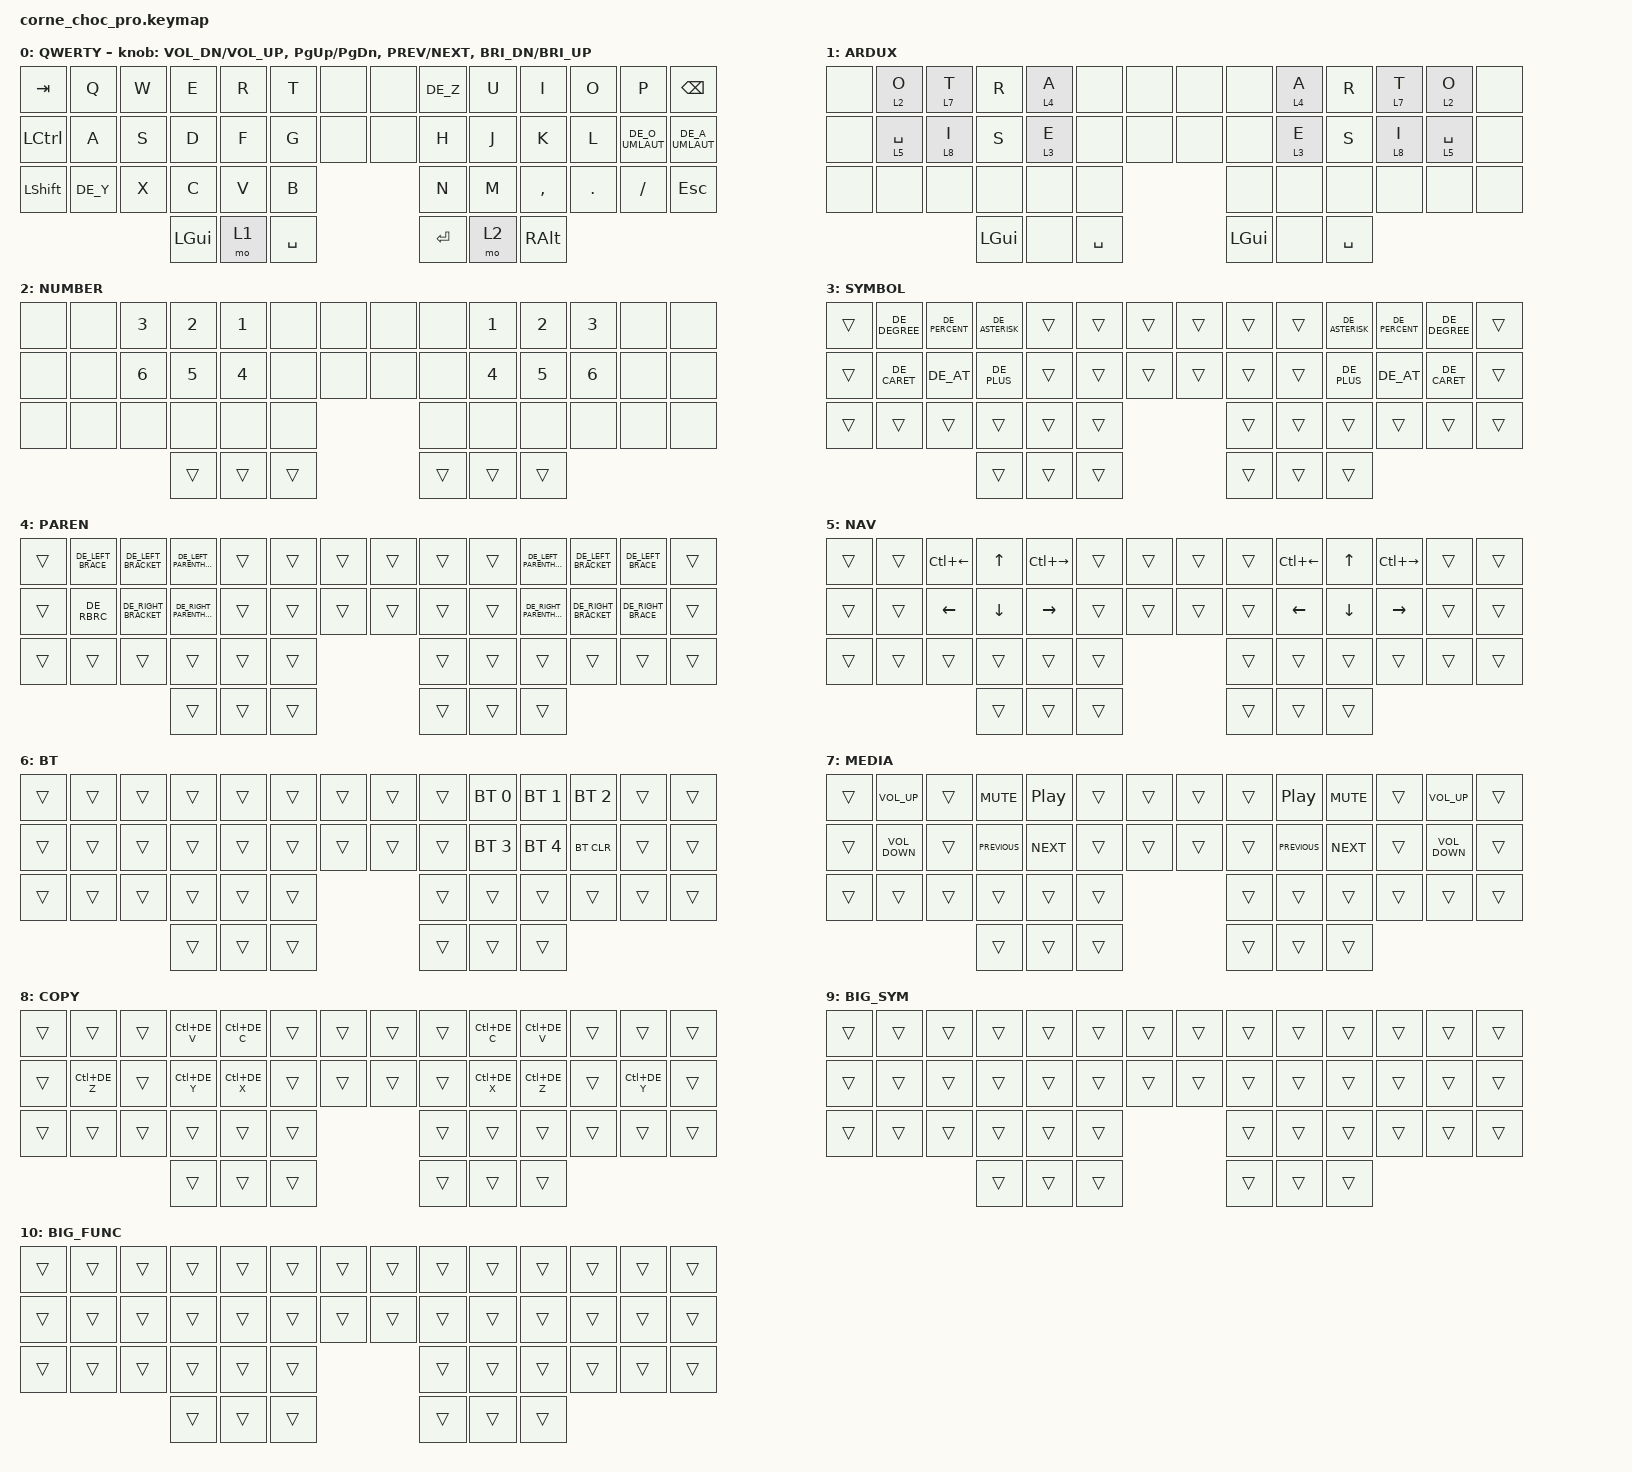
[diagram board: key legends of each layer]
/*
 * Copyright (c) 2020 The ZMK Contributors
 *
 * SPDX-License-Identifier: MIT
 */

#include "keys_de.h"
#include <behaviors.dtsi>
#include <dt-bindings/zmk/bt.h>
#include <dt-bindings/zmk/keys.h>
#include <dt-bindings/zmk/rgb.h>

/ {
    chosen { zmk,physical-layout = &default_layout; };
};

/ {
    combos {
        compatible = "zmk,combos";

        combo_right_f {
            bindings = <&kp F>;
            key-positions = <9 10>;
            layers = <1>;
        };

        combo_right_g {
            bindings = <&kp G>;
            key-positions = <10 11>;
            layers = <1>;
        };

        combo_right_j {
            bindings = <&kp J>;
            key-positions = <11 12>;
            layers = <1>;
        };

        combo_right_v {
            bindings = <&kp V>;
            key-positions = <10 12>;
            layers = <1>;
        };

        combo_right_y {
            bindings = <&kp DE_Y>;
            key-positions = <9 11>;
            layers = <1>;
        };

        combo_right_w {
            bindings = <&kp W>;
            key-positions = <9 12>;
            layers = <1>;
        };

        combo_right_z {
            bindings = <&kp DE_Z>;
            key-positions = <9 10 11 12>;
            layers = <1>;
        };

        combo_right_c {
            bindings = <&kp C>;
            key-positions = <23 24>;
            layers = <1>;
        };

        combo_right_u {
            bindings = <&kp U>;
            key-positions = <24 25>;
            layers = <1>;
        };

        combo_right_n {
            bindings = <&kp N>;
            key-positions = <25 26>;
            layers = <1>;
        };

        combo_right_h {
            bindings = <&kp H>;
            key-positions = <23 25>;
            layers = <1>;
        };

        combo_right_k {
            bindings = <&kp K>;
            key-positions = <24 26>;
            layers = <1>;
        };

        combo_right_b {
            bindings = <&kp B>;
            key-positions = <23 26>;
            layers = <1>;
        };

        combo_right_d {
            bindings = <&kp D>;
            key-positions = <9 10 11>;
            layers = <1>;
        };

        combo_right_x {
            bindings = <&kp X>;
            key-positions = <10 11 12>;
            layers = <1>;
        };

        combo_right_q {
            bindings = <&kp Q>;
            key-positions = <9 11 12>;
            layers = <1>;
        };

        combo_right_p {
            bindings = <&kp P>;
            key-positions = <23 25 26>;
            layers = <1>;
        };

        combo_right_l {
            bindings = <&kp L>;
            key-positions = <23 24 25>;
            layers = <1>;
        };

        combo_right_m {
            bindings = <&kp M>;
            key-positions = <24 25 26>;
            layers = <1>;
        };

        combo_right_ae {
            bindings = <&kp DE_A_UMLAUT>;
            key-positions = <23 10 11>;
            layers = <1>;
        };

        combo_right_oe {
            bindings = <&kp DE_O_UMLAUT>;
            key-positions = <23 11 12>;
            layers = <1>;
        };

        combo_right_ue {
            bindings = <&kp DE_U_UMLAUT>;
            key-positions = <23 10 12>;
            layers = <0 1>;
        };

        combo_right_sz {
            bindings = <&kp DE_SZ>;
            key-positions = <23 11>;
            layers = <0 1>;
        };

        combo_right_ardux {
            bindings = <&m_to_ardux>;
            key-positions = <23 24 25 26>;
            layers = <0>;
        };

        combo_right_sch {
            bindings = <&m_sch>;
            key-positions = <23 10 25 26>;
            layers = <0 1>;
        };

        combo_right_dot {
            bindings = <&kp PERIOD>;
            key-positions = <9 24>;
            layers = <1>;
        };

        combo_right_colon {
            bindings = <&kp DE_COLON>;
            key-positions = <9 24 25>;
            layers = <0 1>;
        };

        combo_right_comma {
            bindings = <&kp COMMA>;
            key-positions = <9 25>;
            layers = <1>;
        };

        combo_right_semicolon {
            bindings = <&kp DE_SEMICOLON>;
            key-positions = <9 25 26>;
            layers = <0 1>;
        };

        combo_right_minus {
            bindings = <&kp DE_MINUS>;
            key-positions = <9 26>;
            layers = <0 1>;
        };

        combo_right_underscore {
            bindings = <&kp DE_UNDERSCORE>;
            key-positions = <9 24 26>;
            layers = <0 1>;
        };

        combo_right_apostrophe {
            bindings = <&kp DE_APOSTROPHE>;
            key-positions = <11 26>;
            layers = <0 1>;
        };

        combo_right_dquotes {
            bindings = <&kp DE_DOUBLE_QUOTES>;
            key-positions = <10 26>;
            layers = <0 1>;
        };

        combo_right_backspace {
            bindings = <&kp BACKSPACE>;
            key-positions = <23 10>;
            layers = <0 1>;
        };

        combo_right_delete {
            bindings = <&kp DELETE>;
            key-positions = <10 25>;
            layers = <0 1>;
        };

        combo_right_escape {
            bindings = <&kp ESCAPE>;
            key-positions = <9 10 26>;
            layers = <0 1>;
        };

        combo_right_shift {
            bindings = <&mod_hold_tap LSHIFT LSHIFT>;
            key-positions = <23 10 11 12>;
            layers = <0 1>;
        };

        combo_right_shiftlock {
            bindings = <&kt LEFT_SHIFT>;
            key-positions = <9 24 25 26>;
            layers = <0 1>;
        };

        combo_right_ctrl {
            bindings = <&mod_hold_tap LCTRL LCTRL>;
            key-positions = <12 23>;
            layers = <0 1>;
        };

        combo_right_gui {
            bindings = <&kp LEFT_GUI>;
            key-positions = <24 12>;
            layers = <0 1>;
        };

        combo_right_alt {
            bindings = <&kp LEFT_ALT>;
            key-positions = <25 12>;
            layers = <0 1>;
        };

        combo_right_enter {
            bindings = <&kp KP_ENTER>;
            key-positions = <9 23>;
            layers = <0 1 2 3 4>;
        };

        combo_right_shift_enter {
            bindings = <&kp LS(KP_ENTER)>;
            key-positions = <23 9 12>;
            layers = <0 1>;
        };

        combo_right_tab {
            bindings = <&kp TAB>;
            key-positions = <10 24>;
            layers = <0 1>;
        };

        combo_right_exclamation {
            bindings = <&kp DE_EXCLAMATION>;
            key-positions = <11 25>;
            layers = <0 1>;
        };

        combo_right_question {
            bindings = <&kp DE_QUESTION>;
            key-positions = <12 26>;
            layers = <0 1>;
        };

        combo_right_bt_clear_profile {
            bindings = <&bt BT_CLR>;
            key-positions = <10 11 24 25>;
            layers = <6>;
        };

        combo_right_bt {
            bindings = <&m_bt>;
            key-positions = <9 23 12 26>;
        };

        combo_right_bt_clr_all {
            bindings = <&bt BT_CLR_ALL>;
            key-positions = <9 10 11 12 12 24 25 26 23>;
            layers = <6>;
        };

        combo_left_f {
            bindings = <&kp F>;
            key-positions = <4 3>;
            layers = <1>;
        };

        combo_left_g {
            bindings = <&kp G>;
            key-positions = <3 2>;
            layers = <1>;
        };

        combo_left_j {
            bindings = <&kp J>;
            key-positions = <2 1>;
            layers = <1>;
        };

        combo_left_v {
            bindings = <&kp V>;
            key-positions = <1 3>;
            layers = <1>;
        };

        combo_left_y {
            bindings = <&kp DE_Y>;
            key-positions = <2 4>;
            layers = <1>;
        };

        combo_left_w {
            bindings = <&kp W>;
            key-positions = <4 1>;
            layers = <1>;
        };

        combo_left_z {
            bindings = <&kp DE_Z>;
            key-positions = <4 1 2 3>;
            layers = <1>;
        };

        combo_left_c {
            bindings = <&kp C>;
            key-positions = <18 17>;
            layers = <1>;
        };

        combo_left_u {
            bindings = <&kp U>;
            key-positions = <17 16>;
            layers = <1>;
        };

        combo_left_n {
            bindings = <&kp N>;
            key-positions = <16 15>;
            layers = <1>;
        };

        combo_left_h {
            bindings = <&kp H>;
            key-positions = <16 18>;
            layers = <1>;
        };

        combo_left_k {
            bindings = <&kp K>;
            key-positions = <15 17>;
            layers = <1>;
        };

        combo_left_b {
            bindings = <&kp B>;
            key-positions = <15 18>;
            layers = <1>;
        };

        combo_left_d {
            bindings = <&kp D>;
            key-positions = <2 3 4>;
            layers = <1>;
        };

        combo_left_x {
            bindings = <&kp X>;
            key-positions = <2 3 1>;
            layers = <1>;
        };

        combo_left_q {
            bindings = <&kp Q>;
            key-positions = <2 1 4>;
            layers = <1>;
        };

        combo_left_p {
            bindings = <&kp P>;
            key-positions = <15 16 18>;
            layers = <1>;
        };

        combo_left_l {
            bindings = <&kp L>;
            key-positions = <16 18 17>;
            layers = <1>;
        };

        combo_left_m {
            bindings = <&kp M>;
            key-positions = <16 17 15>;
            layers = <1>;
        };

        combo_left_ae {
            bindings = <&kp DE_A_UMLAUT>;
            key-positions = <18 3 2>;
            layers = <1>;
        };

        combo_left_oe {
            bindings = <&kp DE_O_UMLAUT>;
            key-positions = <18 1 2>;
            layers = <1>;
        };

        combo_left_ue {
            bindings = <&kp DE_U_UMLAUT>;
            key-positions = <18 1 3>;
            layers = <0 1>;
        };

        combo_left_sz {
            bindings = <&kp DE_SZ>;
            key-positions = <18 2>;
            layers = <0 1>;
        };

        combo_left_sch {
            bindings = <&m_sch>;
            key-positions = <18 16 15 3>;
            layers = <0 1>;
        };

        combo_left_dot {
            bindings = <&kp DOT>;
            key-positions = <17 4>;
            layers = <1>;
        };

        combo_left_colon {
            bindings = <&kp DE_COLON>;
            key-positions = <4 17 16>;
            layers = <0 1>;
        };

        combo_left_comma {
            bindings = <&kp DE_COMMA>;
            key-positions = <4 16>;
            layers = <1>;
        };

        combo_left_semicolon {
            bindings = <&kp DE_SEMICOLON>;
            key-positions = <4 16 15>;
            layers = <0 1>;
        };

        combo_left_minus {
            bindings = <&kp DE_MINUS>;
            key-positions = <4 15>;
            layers = <0 1>;
        };

        combo_left_underscore {
            bindings = <&kp DE_UNDERSCORE>;
            key-positions = <4 17 15>;
            layers = <0 1>;
        };

        combo_left_ardux {
            bindings = <&m_to_ardux>;
            key-positions = <18 17 16 15>;
            layers = <0>;
        };

        combo_left_qwerty {
            bindings = <&m_to_qwerty>;
            key-positions = <18 17 16 15>;
            layers = <1>;
        };

        combo_right_qwerty {
            bindings = <&m_to_qwerty>;
            key-positions = <23 24 25 26>;
            layers = <1>;
        };

        combo_rgb_toggle {
            bindings = <&rgb_ug RGB_TOG>;
            key-positions = <29 30 31 32 35 36 37 38>;
        };

        combo_left_apostrophe {
            bindings = <&kp DE_APOSTROPHE>;
            key-positions = <2 15>;
            layers = <0 1>;
        };

        combo_left_dquotes {
            bindings = <&kp DE_DOUBLE_QUOTES>;
            key-positions = <3 15>;
            layers = <0 1>;
        };

        combo_left_backspace {
            bindings = <&kp BACKSPACE>;
            key-positions = <18 3>;
            layers = <0 1>;
        };

        combo_left_delete {
            bindings = <&kp DELETE>;
            key-positions = <3 16>;
            layers = <0 1>;
        };

        combo_left_escape {
            bindings = <&kp ESCAPE>;
            key-positions = <4 3 15>;
            layers = <0 1>;
        };

        combo_left_shift {
            bindings = <&mod_hold_tap LSHIFT LSHIFT>;
            key-positions = <18 3 2 1>;
            layers = <0 1>;
        };

        combo_left_shiftlock {
            bindings = <&kt LEFT_SHIFT>;
            key-positions = <4 15 16 17>;
            layers = <0 1>;
        };

        combo_left_ctrl {
            bindings = <&mod_hold_tap LCTRL LCTRL>;
            key-positions = <18 1>;
            layers = <0 1>;
        };

        combo_left_gui {
            bindings = <&kp LEFT_GUI>;
            key-positions = <17 1>;
            layers = <0 1>;
        };

        combo_left_alt {
            bindings = <&kp LEFT_ALT>;
            key-positions = <1 16>;
            layers = <0 1>;
        };

        combo_left_enter {
            bindings = <&kp KP_ENTER>;
            key-positions = <4 18>;
            layers = <0 1 2 3 4>;
        };

        combo_left_shift_enter {
            bindings = <&kp LS(KP_ENTER)>;
            key-positions = <4 18 1>;
            layers = <0 1>;
        };

        combo_left_tab {
            bindings = <&kp TAB>;
            key-positions = <3 17>;
            layers = <0 1>;
        };

        combo_left_exclamation {
            bindings = <&kp DE_EXCLAMATION>;
            key-positions = <2 16>;
            layers = <0 1>;
        };

        combo_left_question {
            bindings = <&kp DE_QUESTION>;
            key-positions = <1 15>;
            layers = <0 1>;
        };

        combo_right_7 {
            bindings = <&kp DE_N7>;
            key-positions = <9 10>;
            layers = <2>;
        };

        combo_right_8 {
            bindings = <&kp DE_N8>;
            key-positions = <10 11>;
            layers = <2>;
        };

        combo_right_9 {
            bindings = <&kp DE_N9>;
            key-positions = <23 24>;
            layers = <2>;
        };

        combo_right_0 {
            bindings = <&kp DE_N0>;
            key-positions = <24 25>;
            layers = <2>;
        };

        combo_right_num_dot {
            bindings = <&kp DE_DOT>;
            key-positions = <9 10 11>;
            layers = <2>;
        };

        combo_right_num_comma {
            bindings = <&kp DE_COMMA>;
            key-positions = <23 24 25>;
            layers = <2>;
        };

        combo_left_7 {
            bindings = <&kp DE_N7>;
            key-positions = <4 3>;
            layers = <2>;
        };

        combo_left_8 {
            bindings = <&kp DE_N8>;
            key-positions = <3 2>;
            layers = <2>;
        };

        combo_left_9 {
            bindings = <&kp DE_N9>;
            key-positions = <18 17>;
            layers = <2>;
        };

        combo_left_0 {
            bindings = <&kp DE_N0>;
            key-positions = <16 17>;
            layers = <2>;
        };

        combo_left_num_dot {
            bindings = <&kp DE_DOT>;
            key-positions = <2 3 4>;
            layers = <2>;
        };

        combo_left_num_comma {
            bindings = <&kp DE_COMMA>;
            key-positions = <18 17 16>;
            layers = <2>;
        };

        combo_right_equal {
            bindings = <&kp DE_EQUAL>;
            key-positions = <10 11>;
            layers = <3>;
        };

        combo_right_dollar {
            bindings = <&kp DE_DOLLAR>;
            key-positions = <11 12>;
            layers = <3>;
        };

        combo_right_hash {
            bindings = <&kp DE_HASH>;
            key-positions = <24 25>;
            layers = <3>;
        };

        combo_right_euro {
            bindings = <&kp DE_EURO>;
            key-positions = <25 26>;
            layers = <3>;
        };

        combo_right_tilde {
            bindings = <&kp DE_TILDE>;
            key-positions = <12 11 10>;
            layers = <3>;
        };

        combo_right_shift_tab {
            bindings = <&kp LS(TAB)>;
            key-positions = <10 24 23>;
        };

        combo_left_equal {
            bindings = <&kp DE_EQUAL>;
            key-positions = <3 2>;
            layers = <3>;
        };

        combo_left_dollar {
            bindings = <&kp DE_DOLLAR>;
            key-positions = <1 2>;
            layers = <3>;
        };

        combo_left_hash {
            bindings = <&kp DE_HASH>;
            key-positions = <16 17>;
            layers = <3>;
        };

        combo_left_euro {
            bindings = <&kp DE_EURO>;
            key-positions = <15 16>;
            layers = <3>;
        };

        combo_left_tilde {
            bindings = <&kp DE_TILDE>;
            key-positions = <1 2 3>;
            layers = <3>;
        };

        combo_left_shift_tab {
            bindings = <&kp LS(TAB)>;
            key-positions = <3 17 18>;
        };
    };

    macros {
        m_sch: m_sch {
            compatible = "zmk,behavior-macro";
            #binding-cells = <0>;
            bindings = <&kp S &kp C &kp H>;
            label = "M_SCH";
        };

        m_bt: m_bt {
            compatible = "zmk,behavior-macro";
            #binding-cells = <0>;
            bindings = <&tog 6 &rgb_ug RGB_TOG &rgb_ug RGB_COLOR_HSB(249,95,53)>;
            label = "M_BT";
        };

        m_blink_color: bt_test {
            compatible = "zmk,behavior-macro-one-param";
            #binding-cells = <1>;
            bindings =
                <&macro_param_1to2 &rgb_ug RGB_COLOR_HSB_CMD MACRO_PLACEHOLDER &rgb_ug RGB_ON>,
                <&macro_wait_time 5000>,
                <&rgb_ug RGB_OFF>;

            label = "BT_TEST";
        };

        m_to_ardux: to_ardux {
            compatible = "zmk,behavior-macro";
            #binding-cells = <0>;
            bindings = <&to 1 &m_blink_color RGB_COLOR_HSB_VAL(134,100,41)>;
            label = "TO_ARDUX";
        };

        m_to_qwerty: m_to_qwerty {
            compatible = "zmk,behavior-macro";
            #binding-cells = <0>;
            bindings = <&to 0 &m_blink_color RGB_COLOR_HSB_VAL(31,100,46)>;
            label = "M_TO_QWERTY";
        };
    };

    behaviors {
        mod_hold_tap: mod_hold_tap {
            compatible = "zmk,behavior-hold-tap";
            label = "MOD_HOLD_TAP";
            bindings = <&kp>, <&sk>;

            #binding-cells = <2>;
            tapping-term-ms = <400>;
            hold-while-undecided-linger;
        };
    };

    keymap {
        compatible = "zmk,keymap";

        default_layer {
            display-name = "QWERTY";

            // --------------------------------------------------------------------------------
            // |  TAB |  Q  |  W  |  E  |  R  |  T  |  MUTE |  PP   |  Y  |  U   |  I  |  O  |  P  | BSPC |
            // | CTRL |  A  |  S  |  D  |  F  |  G  |  LALT |  RALT |  H  |  J   |  K  |  L  |  ;  |  '   |
            // | SHFT |  Z  |  X  |  C  |  V  |  B  |               |  N  |  M   |  ,  |  .  |  /  | ESC  |
            //                    | GUI | LWR | SPC |               | ENT | RSE  | ALT |

            bindings = <
&kp TAB    &kp Q     &kp W  &kp E     &kp R  &kp T      &none  &none  &kp DE_Z  &kp U  &kp I      &kp O    &kp P            &kp BSPC
&kp LCTRL  &kp A     &kp S  &kp D     &kp F  &kp G      &none  &none  &kp H     &kp J  &kp K      &kp L    &kp DE_O_UMLAUT  &kp DE_A_UMLAUT
&kp LSHFT  &kp DE_Y  &kp X  &kp C     &kp V  &kp B                    &kp N     &kp M  &kp COMMA  &kp DOT  &kp FSLH         &kp ESC
                            &kp LGUI  &mo 1  &kp SPACE                &kp RET   &mo 2  &kp RALT
            >;

            sensor-bindings = <&inc_dec_kp C_VOL_DN C_VOL_UP &inc_dec_kp PG_UP PG_DN &inc_dec_kp C_PREV C_NEXT &inc_dec_kp C_BRI_DN C_BRI_UP>;
        };

        ardux_layer {
            display-name = "ARDUX";

            // -----------------------------------------------------------------------------------------
            // |  TAB |  1  |  2  |  3  |  4  |  5    |  LCTRL | RCTRL |  6  |  7  |  8  |  9  |  0  | BSPC |
            // | CTRL | BT1 | BT2 | BT3 | BT4 | BT5   |  LALT  | RALT  | LFT | DWN |  UP | RGT |     |      |
            // | SHFT | BTCR| RGB | RST | BOOT| Unlock|        |       |     |     |     |     |     |      |
            //                    | GUI |     | SPC   |        | ENT   |     | ALT |

            bindings = <
&none  &lt 2 O      &lt 7 T  &kp R     &lt 4 A  &none      &none  &none  &none     &lt 4 A  &kp R      &lt 7 T  &lt 2 O      &none
&none  &lt 5 SPACE  &lt 8 I  &kp S     &lt 3 E  &none      &none  &none  &none     &lt 3 E  &kp S      &lt 8 I  &lt 5 SPACE  &none
&none  &none        &none    &none     &none    &none                    &none     &none    &none      &none    &none        &none
                             &kp LGUI  &none    &kp SPACE                &kp LGUI  &none    &kp SPACE
            >;
        };

        number_layer {
            display-name = "NUMBER";

            // -----------------------------------------------------------------------------------------
            // |  TAB |  !  |  @  |  #  |  $  |  %  | LCTRL | RCTRL |  ^  |  &  |  *  |  (  |  )  | BSPC |
            // | CTRL |     |     |     |     |     |  LALT | RALT  |  -  |  =  |  [  |  ]  |  \  |  `   |
            // | SHFT |     |     |     |     |     |               |  _  |  +  |  {  |  }  | "|" |  ~   |
            //                    | GUI |     | SPC |               | ENT |     | ALT |

            bindings = <
&none  &none  &kp N3  &kp N2  &kp N1  &none   &none  &none  &none   &kp N1  &kp N2  &kp N3  &none  &none
&none  &none  &kp N6  &kp N5  &kp N4  &none   &none  &none  &none   &kp N4  &kp N5  &kp N6  &none  &none
&none  &none  &none   &none   &none   &none                 &none   &none   &none   &none   &none  &none
                      &trans  &trans  &trans                &trans  &trans  &trans
            >;
        };

        symbol_layer {
            display-name = "SYMBOL";
            bindings = <
&trans  &kp DE_DEGREE  &kp DE_PERCENT  &kp DE_ASTERISK  &trans  &trans  &trans  &trans  &trans  &trans  &kp DE_ASTERISK  &kp DE_PERCENT  &kp DE_DEGREE  &trans
&trans  &kp DE_CARET   &kp DE_AT       &kp DE_PLUS      &trans  &trans  &trans  &trans  &trans  &trans  &kp DE_PLUS      &kp DE_AT       &kp DE_CARET   &trans
&trans  &trans         &trans          &trans           &trans  &trans                  &trans  &trans  &trans           &trans          &trans         &trans
                                       &trans           &trans  &trans                  &trans  &trans  &trans
            >;
        };

        paren_layer {
            display-name = "PAREN";
            bindings = <
&trans  &kp DE_LEFT_BRACE  &kp DE_LEFT_BRACKET   &kp DE_LEFT_PARENTHESIS   &trans  &trans  &trans  &trans  &trans  &trans  &kp DE_LEFT_PARENTHESIS   &kp DE_LEFT_BRACKET   &kp DE_LEFT_BRACE   &trans
&trans  &kp DE_RBRC        &kp DE_RIGHT_BRACKET  &kp DE_RIGHT_PARENTHESIS  &trans  &trans  &trans  &trans  &trans  &trans  &kp DE_RIGHT_PARENTHESIS  &kp DE_RIGHT_BRACKET  &kp DE_RIGHT_BRACE  &trans
&trans  &trans             &trans                &trans                    &trans  &trans                  &trans  &trans  &trans                    &trans                &trans              &trans
                                                 &trans                    &trans  &trans                  &trans  &trans  &trans
            >;
        };

        nav_layer {
            display-name = "NAV";
            bindings = <
&trans  &trans  &kp LC(LEFT)  &kp UP    &kp LC(RIGHT)  &trans  &trans  &trans  &trans  &kp LC(LEFT)  &kp UP    &kp LC(RIGHT)  &trans  &trans
&trans  &trans  &kp LEFT      &kp DOWN  &kp RIGHT      &trans  &trans  &trans  &trans  &kp LEFT      &kp DOWN  &kp RIGHT      &trans  &trans
&trans  &trans  &trans        &trans    &trans         &trans                  &trans  &trans        &trans    &trans         &trans  &trans
                              &trans    &trans         &trans                  &trans  &trans        &trans
            >;
        };

        bt_layer {
            display-name = "BT";
            bindings = <
&trans  &trans  &trans  &trans  &trans  &trans  &trans  &trans  &trans  &bt BT_SEL 0  &bt BT_SEL 1  &bt BT_SEL 2  &trans  &trans
&trans  &trans  &trans  &trans  &trans  &trans  &trans  &trans  &trans  &bt BT_SEL 3  &bt BT_SEL 4  &bt BT_CLR    &trans  &trans
&trans  &trans  &trans  &trans  &trans  &trans                  &trans  &trans        &trans        &trans        &trans  &trans
                        &trans  &trans  &trans                  &trans  &trans        &trans
            >;
        };

        media_layer {
            display-name = "MEDIA";
            bindings = <
&trans  &kp C_VOLUME_UP    &trans  &kp C_MUTE      &kp C_PLAY_PAUSE  &trans  &trans  &trans  &trans  &kp C_PLAY_PAUSE  &kp C_MUTE  &trans  &kp C_VOLUME_UP    &trans
&trans  &kp C_VOLUME_DOWN  &trans  &kp C_PREVIOUS  &kp C_NEXT        &trans  &trans  &trans  &trans  &kp C_PREVIOUS    &kp C_NEXT  &trans  &kp C_VOLUME_DOWN  &trans
&trans  &trans             &trans  &trans          &trans            &trans                  &trans  &trans            &trans      &trans  &trans             &trans
                                   &trans          &trans            &trans                  &trans  &trans            &trans
            >;
        };

        copy_layer {
            display-name = "COPY";
            bindings = <
&trans  &trans        &trans  &kp LC(DE_V)  &kp LC(DE_C)  &trans  &trans  &trans  &trans  &kp LC(DE_C)  &kp LC(DE_V)  &trans  &trans        &trans
&trans  &kp LC(DE_Z)  &trans  &kp LC(DE_Y)  &kp LC(DE_X)  &trans  &trans  &trans  &trans  &kp LC(DE_X)  &kp LC(DE_Z)  &trans  &kp LC(DE_Y)  &trans
&trans  &trans        &trans  &trans        &trans        &trans                  &trans  &trans        &trans        &trans  &trans        &trans
                              &trans        &trans        &trans                  &trans  &trans        &trans
            >;
        };

        big_sym_layer {
            bindings = <
&trans  &trans  &trans  &trans  &trans  &trans  &trans  &trans  &trans  &trans  &trans  &trans  &trans  &trans
&trans  &trans  &trans  &trans  &trans  &trans  &trans  &trans  &trans  &trans  &trans  &trans  &trans  &trans
&trans  &trans  &trans  &trans  &trans  &trans                  &trans  &trans  &trans  &trans  &trans  &trans
                        &trans  &trans  &trans                  &trans  &trans  &trans
            >;

            label = "BIG_SYM";
        };

        big_function_layer {
            bindings = <
&trans  &trans  &trans  &trans  &trans  &trans  &trans  &trans  &trans  &trans  &trans  &trans  &trans  &trans
&trans  &trans  &trans  &trans  &trans  &trans  &trans  &trans  &trans  &trans  &trans  &trans  &trans  &trans
&trans  &trans  &trans  &trans  &trans  &trans                  &trans  &trans  &trans  &trans  &trans  &trans
                        &trans  &trans  &trans                  &trans  &trans  &trans
            >;

            label = "BIG_FUNC";
        };
    };
};
